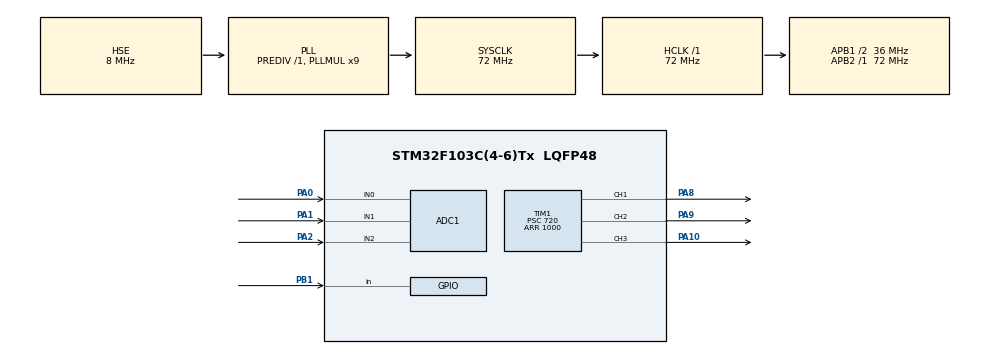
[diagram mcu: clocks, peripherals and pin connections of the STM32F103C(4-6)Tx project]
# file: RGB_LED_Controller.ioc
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ADC1.Channel-0\#ChannelRegularConversion=ADC_CHANNEL_0
ADC1.Channel-1\#ChannelRegularConversion=ADC_CHANNEL_1
ADC1.Channel-2\#ChannelRegularConversion=ADC_CHANNEL_2
ADC1.ContinuousConvMode=ENABLE
ADC1.DataAlign=ADC_DATAALIGN_RIGHT
ADC1.DiscontinuousConvMode=DISABLE
ADC1.NbrOfConversion=3
ADC1.NbrOfConversionFlag=1
ADC1.Rank-0\#ChannelRegularConversion=1
ADC1.Rank-1\#ChannelRegularConversion=2
ADC1.Rank-2\#ChannelRegularConversion=3
ADC1.SamplingTime-0\#ChannelRegularConversion=ADC_SAMPLETIME_1CYCLE_5
ADC1.SamplingTime-1\#ChannelRegularConversion=ADC_SAMPLETIME_1CYCLE_5
ADC1.SamplingTime-2\#ChannelRegularConversion=ADC_SAMPLETIME_1CYCLE_5
ADC1.master=1
Dma.ADC1.0.Direction=DMA_PERIPH_TO_MEMORY
Dma.ADC1.0.Instance=DMA1_Channel1
Dma.ADC1.0.MemDataAlignment=DMA_MDATAALIGN_HALFWORD
Dma.ADC1.0.MemInc=DMA_MINC_ENABLE
Dma.ADC1.0.Mode=DMA_CIRCULAR
Dma.ADC1.0.PeriphDataAlignment=DMA_PDATAALIGN_HALFWORD
Dma.ADC1.0.PeriphInc=DMA_PINC_DISABLE
Dma.ADC1.0.Priority=DMA_PRIORITY_LOW
Dma.Request0=ADC1
Mcu.Family=STM32F1
Mcu.Name=STM32F103C(4-6)Tx
Mcu.Package=LQFP48
NVIC.DMA1_Channel1_IRQn=true\:0\:0\:false\:false\:true\:false\:true\:true
NVIC.PriorityGroup=NVIC_PRIORITYGROUP_4
PA0-WKUP.Signal=ADCx_IN0
PA1.Signal=ADCx_IN1
PA10.Signal=S_TIM1_CH3
PA2.Signal=ADCx_IN2
PA8.Signal=S_TIM1_CH1
PA9.Signal=S_TIM1_CH2
PB1.GPIO_PuPd=GPIO_PULLDOWN
PB1.Signal=GPIO_Input
PD0-OSC_IN.Mode=HSE-External-Clock-Source
PD0-OSC_IN.Signal=RCC_OSC_IN
PD1-OSC_OUT.Mode=HSE-External-Clock-Source
PD1-OSC_OUT.Signal=RCC_OSC_OUT
ProjectManager.HeapSize=0x200
ProjectManager.StackSize=0x400
ProjectManager.TargetToolchain=STM32CubeIDE
RCC.ADCPresc=RCC_ADCPCLK2_DIV6
RCC.AHBFreq_Value=72000000
RCC.APB1CLKDivider=RCC_HCLK_DIV2
RCC.APB1Freq_Value=36000000
RCC.APB1TimFreq_Value=72000000
RCC.APB2Freq_Value=72000000
RCC.APB2TimFreq_Value=72000000
RCC.HCLKFreq_Value=72000000
RCC.PLLMUL=RCC_PLL_MUL9
RCC.PLLSourceVirtual=RCC_PLLSOURCE_HSE
RCC.SYSCLKFreq_VALUE=72000000
RCC.SYSCLKSource=RCC_SYSCLKSOURCE_PLLCLK
RCC.USBFreq_Value=72000000
SH.ADCx_IN0.0=ADC1_IN0,IN0
SH.ADCx_IN1.0=ADC1_IN1,IN1
SH.ADCx_IN2.0=ADC1_IN2,IN2
SH.S_TIM1_CH1.0=TIM1_CH1,PWM Generation1 CH1
SH.S_TIM1_CH2.0=TIM1_CH2,PWM Generation2 CH2
SH.S_TIM1_CH3.0=TIM1_CH3,PWM Generation3 CH3
TIM1.Channel-PWM\ Generation1\ CH1=TIM_CHANNEL_1
TIM1.Channel-PWM\ Generation2\ CH2=TIM_CHANNEL_2
TIM1.Channel-PWM\ Generation3\ CH3=TIM_CHANNEL_3
TIM1.Period=1000
TIM1.Prescaler=720
board=custom

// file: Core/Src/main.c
/* USER CODE BEGIN Header */
/**
  ******************************************************************************
  * @file           : main.c
  * @brief          : Main program body
  ******************************************************************************
  * @attention
  *
  * Copyright (c) 2023 STMicroelectronics.
  * All rights reserved.
  *
  * This software is licensed under terms that can be found in the LICENSE file
  * in the root directory of this software component.
  * If no LICENSE file comes with this software, it is provided AS-IS.
  *
  ******************************************************************************
  */
/* USER CODE END Header */
#include "main.h"

/* USER CODE BEGIN PD */
#define MessLenght  3
#define RED  		0x00000000U
#define GREEN		0x00000004U
#define BLUE 		0x00000008U
/* USER CODE END PD */

ADC_HandleTypeDef hadc1;
DMA_HandleTypeDef hdma_adc1;

TIM_HandleTypeDef htim1;

/* USER CODE BEGIN PV */

uint32_t AdcConvData[3] ;

uint16_t RedValue = 0 ;
uint16_t GreenValue = 0;
uint16_t BlueValue = 0 ;

uint8_t IsClosed = 0 ;

/* USER CODE END PV */

void SystemClock_Config(void);
static void MX_GPIO_Init(void);
static void MX_DMA_Init(void);
static void MX_ADC1_Init(void);
static void MX_TIM1_Init(void);

/* USER CODE BEGIN 0 */

void HAL_ADC_ConvCpltCallback(ADC_HandleTypeDef* hadc){

	if (hadc->Instance == ADC1) {

		RedValue =  AdcConvData[0] ;
		GreenValue =  AdcConvData[1] ;
		BlueValue = AdcConvData[2] ;

	}

}

/* USER CODE END 0 */

int main(void)
{

  /* MCU Configuration--------------------------------------------------------*/

  /* Reset of all peripherals, Initializes the Flash interface and the Systick. */
  HAL_Init();

  /* Configure the system clock */
  SystemClock_Config();

  /* Initialize all configured peripherals */
  MX_GPIO_Init();
  MX_DMA_Init();
  MX_ADC1_Init();
  MX_TIM1_Init();
  /* USER CODE BEGIN 2 */

  HAL_ADCEx_MultiModeStart_DMA(&hadc1, AdcConvData, MessLenght);
  HAL_TIM_Base_Start(&htim1);

  /* USER CODE END 2 */

  /* Infinite loop */
  while (1)
  {

    /* USER CODE BEGIN 3 */

	  IsClosed = HAL_GPIO_ReadPin(GPIOB, GPIO_PIN_1);

	  if (! IsClosed) {
		HAL_TIM_PWM_Start(&htim1,RED);
		__HAL_TIM_SET_COMPARE(&htim1,RED,RedValue);

		HAL_TIM_PWM_Start(&htim1,GREEN);
		__HAL_TIM_SET_COMPARE(&htim1,GREEN,GreenValue);

		HAL_TIM_PWM_Start(&htim1,BLUE);
		__HAL_TIM_SET_COMPARE(&htim1,BLUE,BlueValue);
	}
	  else {
		HAL_TIM_PWM_Stop(&htim1, RED);
		HAL_TIM_PWM_Stop(&htim1, GREEN);
		HAL_TIM_PWM_Stop(&htim1, BLUE);
	}

  }
  /* USER CODE END 3 */
}

void SystemClock_Config(void)
{
  RCC_OscInitTypeDef RCC_OscInitStruct = {0};
  RCC_ClkInitTypeDef RCC_ClkInitStruct = {0};
  RCC_PeriphCLKInitTypeDef PeriphClkInit = {0};

  /** Initializes the RCC Oscillators according to the specified parameters
  * in the RCC_OscInitTypeDef structure.
  */
  RCC_OscInitStruct.OscillatorType = RCC_OSCILLATORTYPE_HSE;
  RCC_OscInitStruct.HSEState = RCC_HSE_BYPASS;
  RCC_OscInitStruct.HSEPredivValue = RCC_HSE_PREDIV_DIV1;
  RCC_OscInitStruct.HSIState = RCC_HSI_ON;
  RCC_OscInitStruct.PLL.PLLState = RCC_PLL_ON;
  RCC_OscInitStruct.PLL.PLLSource = RCC_PLLSOURCE_HSE;
  RCC_OscInitStruct.PLL.PLLMUL = RCC_PLL_MUL9;
  if (HAL_RCC_OscConfig(&RCC_OscInitStruct) != HAL_OK)
  {
    Error_Handler();
  }

  /** Initializes the CPU, AHB and APB buses clocks
  */
  RCC_ClkInitStruct.ClockType = RCC_CLOCKTYPE_HCLK|RCC_CLOCKTYPE_SYSCLK
                              |RCC_CLOCKTYPE_PCLK1|RCC_CLOCKTYPE_PCLK2;
  RCC_ClkInitStruct.SYSCLKSource = RCC_SYSCLKSOURCE_PLLCLK;
  RCC_ClkInitStruct.AHBCLKDivider = RCC_SYSCLK_DIV1;
  RCC_ClkInitStruct.APB1CLKDivider = RCC_HCLK_DIV2;
  RCC_ClkInitStruct.APB2CLKDivider = RCC_HCLK_DIV1;

  if (HAL_RCC_ClockConfig(&RCC_ClkInitStruct, FLASH_LATENCY_2) != HAL_OK)
  {
    Error_Handler();
  }
  PeriphClkInit.PeriphClockSelection = RCC_PERIPHCLK_ADC;
  PeriphClkInit.AdcClockSelection = RCC_ADCPCLK2_DIV6;
  if (HAL_RCCEx_PeriphCLKConfig(&PeriphClkInit) != HAL_OK)
  {
    Error_Handler();
  }
}

static void MX_ADC1_Init(void)
{

  ADC_ChannelConfTypeDef sConfig = {0};

  /** Common config
  */
  hadc1.Instance = ADC1;
  hadc1.Init.ScanConvMode = ADC_SCAN_ENABLE;
  hadc1.Init.ContinuousConvMode = ENABLE;
  hadc1.Init.DiscontinuousConvMode = DISABLE;
  hadc1.Init.ExternalTrigConv = ADC_SOFTWARE_START;
  hadc1.Init.DataAlign = ADC_DATAALIGN_RIGHT;
  hadc1.Init.NbrOfConversion = 3;
  if (HAL_ADC_Init(&hadc1) != HAL_OK)
  {
    Error_Handler();
  }

  /** Configure Regular Channel
  */
  sConfig.Channel = ADC_CHANNEL_0;
  sConfig.Rank = ADC_REGULAR_RANK_1;
  sConfig.SamplingTime = ADC_SAMPLETIME_1CYCLE_5;
  if (HAL_ADC_ConfigChannel(&hadc1, &sConfig) != HAL_OK)
  {
    Error_Handler();
  }

  /** Configure Regular Channel
  */
  sConfig.Channel = ADC_CHANNEL_1;
  sConfig.Rank = ADC_REGULAR_RANK_2;
  if (HAL_ADC_ConfigChannel(&hadc1, &sConfig) != HAL_OK)
  {
    Error_Handler();
  }

  /** Configure Regular Channel
  */
  sConfig.Channel = ADC_CHANNEL_2;
  sConfig.Rank = ADC_REGULAR_RANK_3;
  if (HAL_ADC_ConfigChannel(&hadc1, &sConfig) != HAL_OK)
  {
    Error_Handler();
  }

}

static void MX_TIM1_Init(void)
{

  TIM_MasterConfigTypeDef sMasterConfig = {0};
  TIM_OC_InitTypeDef sConfigOC = {0};
  TIM_BreakDeadTimeConfigTypeDef sBreakDeadTimeConfig = {0};

  htim1.Instance = TIM1;
  htim1.Init.Prescaler = 720;
  htim1.Init.CounterMode = TIM_COUNTERMODE_UP;
  htim1.Init.Period = 1000;
  htim1.Init.ClockDivision = TIM_CLOCKDIVISION_DIV1;
  htim1.Init.RepetitionCounter = 0;
  htim1.Init.AutoReloadPreload = TIM_AUTORELOAD_PRELOAD_DISABLE;
  if (HAL_TIM_PWM_Init(&htim1) != HAL_OK)
  {
    Error_Handler();
  }
  sMasterConfig.MasterOutputTrigger = TIM_TRGO_RESET;
  sMasterConfig.MasterSlaveMode = TIM_MASTERSLAVEMODE_DISABLE;
  if (HAL_TIMEx_MasterConfigSynchronization(&htim1, &sMasterConfig) != HAL_OK)
  {
    Error_Handler();
  }
  sConfigOC.OCMode = TIM_OCMODE_PWM1;
  sConfigOC.Pulse = 0;
  sConfigOC.OCPolarity = TIM_OCPOLARITY_HIGH;
  sConfigOC.OCNPolarity = TIM_OCNPOLARITY_HIGH;
  sConfigOC.OCFastMode = TIM_OCFAST_DISABLE;
  sConfigOC.OCIdleState = TIM_OCIDLESTATE_RESET;
  sConfigOC.OCNIdleState = TIM_OCNIDLESTATE_RESET;
  if (HAL_TIM_PWM_ConfigChannel(&htim1, &sConfigOC, TIM_CHANNEL_1) != HAL_OK)
  {
    Error_Handler();
  }
  if (HAL_TIM_PWM_ConfigChannel(&htim1, &sConfigOC, TIM_CHANNEL_2) != HAL_OK)
  {
    Error_Handler();
  }
  if (HAL_TIM_PWM_ConfigChannel(&htim1, &sConfigOC, TIM_CHANNEL_3) != HAL_OK)
  {
    Error_Handler();
  }
  sBreakDeadTimeConfig.OffStateRunMode = TIM_OSSR_DISABLE;
  sBreakDeadTimeConfig.OffStateIDLEMode = TIM_OSSI_DISABLE;
  sBreakDeadTimeConfig.LockLevel = TIM_LOCKLEVEL_OFF;
  sBreakDeadTimeConfig.DeadTime = 0;
  sBreakDeadTimeConfig.BreakState = TIM_BREAK_DISABLE;
  sBreakDeadTimeConfig.BreakPolarity = TIM_BREAKPOLARITY_HIGH;
  sBreakDeadTimeConfig.AutomaticOutput = TIM_AUTOMATICOUTPUT_DISABLE;
  if (HAL_TIMEx_ConfigBreakDeadTime(&htim1, &sBreakDeadTimeConfig) != HAL_OK)
  {
    Error_Handler();
  }
  HAL_TIM_MspPostInit(&htim1);

}

static void MX_DMA_Init(void)
{

  /* DMA controller clock enable */
  __HAL_RCC_DMA1_CLK_ENABLE();

  /* DMA interrupt init */
  /* DMA1_Channel1_IRQn interrupt configuration */
  HAL_NVIC_SetPriority(DMA1_Channel1_IRQn, 0, 0);
  HAL_NVIC_EnableIRQ(DMA1_Channel1_IRQn);

}

static void MX_GPIO_Init(void)
{
  GPIO_InitTypeDef GPIO_InitStruct = {0};

  /* GPIO Ports Clock Enable */
  __HAL_RCC_GPIOD_CLK_ENABLE();
  __HAL_RCC_GPIOA_CLK_ENABLE();
  __HAL_RCC_GPIOB_CLK_ENABLE();

  /*Configure GPIO pin : PB1 */
  GPIO_InitStruct.Pin = GPIO_PIN_1;
  GPIO_InitStruct.Mode = GPIO_MODE_INPUT;
  GPIO_InitStruct.Pull = GPIO_PULLDOWN;
  HAL_GPIO_Init(GPIOB, &GPIO_InitStruct);

}

void Error_Handler(void)
{
  __disable_irq();
  while (1)
  {
  }
}
